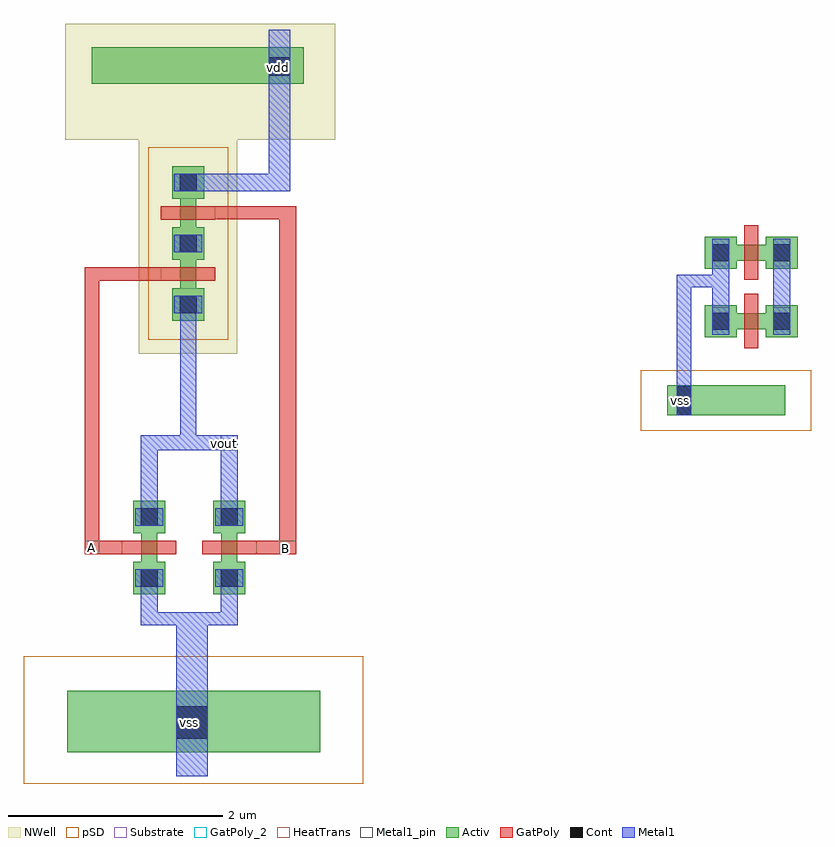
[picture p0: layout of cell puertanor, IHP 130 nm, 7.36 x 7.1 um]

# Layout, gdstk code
from math import pi, radians
import gdstk
lib = gdstk.Library(unit=1e-6, precision=5e-09)
def R(c, l, rs):  # rectangles x0, y0, x1, y1
    for r in rs: c.add(gdstk.rectangle(r[:2], r[2:], *l))
Activ = (1, 0)
GatPoly = (5, 0)
GatPoly_2 = (5, 2)
Cont = (6, 0)
Metal1 = (8, 0)
Metal1_pin = (8, 2)
pSD = (14, 0)
NWell = (31, 0)
Substrate = (40, 0)
HeatTrans = (51, 0)

pmos = lib.new_cell('pmos')
R(pmos, Activ, [(0,0,0.3,0.3), (0.57,0,0.87,0.3), (0,0.075,0.87,0.225)])
R(pmos, GatPoly, [(0.37,-0.105,0.5,0.405), (0.37,-0.105,0.5,0.405)])
R(pmos, Cont, [(0.07,0.07,0.23,0.23), (0.64,0.07,0.8,0.23)])
R(pmos, Metal1, [(0.07,0.02,0.23,0.28), (0.07,0.02,0.23,0.28), (0.64,0.02,0.8,0.28), (0.64,0.02,0.8,0.28)])
R(pmos, pSD, [(-0.18,-0.225,1.05,0.525)])
R(pmos, NWell, [(-0.31,-0.31,1.18,0.61)])
R(pmos, Substrate, [(0.57,0,0.87,0.3)])
R(pmos, HeatTrans, [(0.37,-0.105,0.5,0.405)])
pmos.add(gdstk.Label('pmos', (0.435,0.15), layer=63, texttype=0))
pmos.add(gdstk.Label('pmos', (0.435,0.15), layer=51, texttype=0))

nmos = lib.new_cell('nmos')
R(nmos, Activ, [(0,0,0.3,0.3), (0.57,0,0.87,0.3), (0,0.075,0.87,0.225)])
R(nmos, GatPoly, [(0.37,-0.105,0.5,0.405)])
R(nmos, GatPoly_2, [(0.37,-0.105,0.5,0.405)])
R(nmos, Cont, [(0.07,0.07,0.23,0.23), (0.64,0.07,0.8,0.23)])
R(nmos, Metal1, [(0.07,0.02,0.23,0.28), (0.64,0.02,0.8,0.28)])
R(nmos, Metal1_pin, [(0.07,0.02,0.23,0.28), (0.64,0.02,0.8,0.28)])
R(nmos, HeatTrans, [(0.37,-0.105,0.5,0.405)])
nmos.add(gdstk.Label('nmos', (0.435,0.15), layer=63, texttype=0))
nmos.add(gdstk.Label('nmos', (0.435,0.15), layer=51, texttype=0))

puertanor = lib.new_cell('puertanor')
R(puertanor, Activ, [(2.07,-0.245,4.435,0.33), (7.675,2.905,8.78,3.185), (2.3,6,4.28,6.345)])
R(puertanor, GatPoly, [(2.235,1.605,2.73,1.735), (2.235,1.605,2.37,4.28), (3.685,1.605,4.21,1.735), (4.05,1.605,4.21,4.86), (2.235,4.16,3.09,4.29), (3.345,4.735,4.21,4.86)])
R(puertanor, GatPoly_2, [(2.235,1.605,2.37,1.735), (4.05,1.605,4.21,1.735)])
R(puertanor, Cont, [(3.09,-0.115,3.385,0.185), (2.755,1.305,2.915,1.465), (3.505,1.305,3.665,1.465), (2.755,1.875,2.915,2.035), (3.505,1.875,3.665,2.035), (7.765,2.905,7.9,3.18), (3.125,3.86,3.275,4.02), (3.955,6.075,4.155,6.25)])
R(puertanor, Metal1, [(3.09,-0.465,3.385,1.065), (2.755,0.945,3.665,1.065), (2.755,0.945,2.915,1.465), (3.505,0.945,3.665,1.465), (2.755,1.875,2.915,2.72), (3.505,1.875,3.665,2.72), (2.755,2.58,3.665,2.72), (3.125,2.58,3.275,4.02), (7.765,2.905,7.9,4.22), (8.095,3.7,8.255,4.495), (8.665,3.71,8.825,4.5), (7.765,4.1,8.255,4.22), (3.3,5,4.155,5.16), (3.955,5,4.155,6.505)])
R(puertanor, Metal1_pin, [(3.505,2.58,3.665,2.72), (7.765,2.905,7.9,3.185), (3.955,6.075,4.155,6.25)])
R(puertanor, pSD, [(1.665,-0.535,4.835,0.655), (7.43,2.76,9.02,3.325)])
R(puertanor, NWell, [(2.05,5.48,4.575,6.565)])
puertanor.add(gdstk.Reference(pmos, (3.35,4.36), rotation=pi/2))
puertanor.add(gdstk.Reference(pmos, (3.05,4.66), rotation=3*pi/2))
puertanor.add(gdstk.Reference(nmos, (3.735,1.235), rotation=pi/2))
puertanor.add(gdstk.Reference(nmos, (2.985,1.235), rotation=pi/2))
puertanor.add(gdstk.Reference(nmos, (8.025,4.275)))
puertanor.add(gdstk.Reference(nmos, (8.025,3.635)))
puertanor.add(gdstk.Label('vss', (3.215,0.035), layer=6, texttype=0))
puertanor.add(gdstk.Label('vdd', (4.04,6.15), layer=8, texttype=2))
puertanor.add(gdstk.Label('vss', (7.8,3.04), layer=8, texttype=2))
puertanor.add(gdstk.Label('vout', (3.535,2.64), layer=8, texttype=2))
puertanor.add(gdstk.Label('B', (4.105,1.66), layer=5, texttype=2))
puertanor.add(gdstk.Label('A', (2.3,1.67), layer=5, texttype=2))

lib.write_gds('puertanor.gds')
